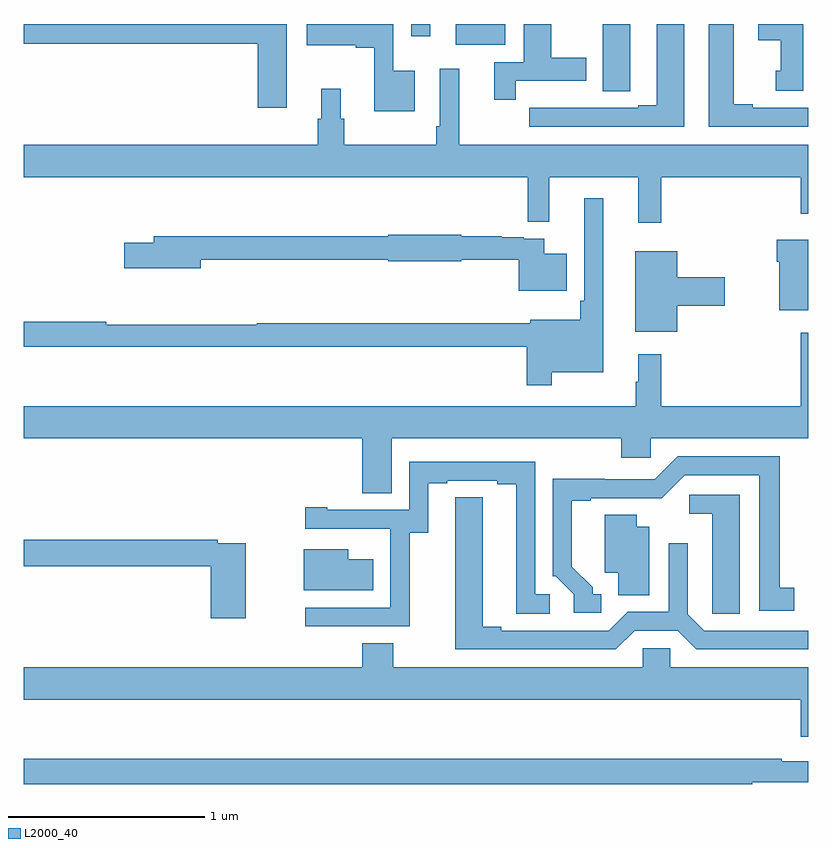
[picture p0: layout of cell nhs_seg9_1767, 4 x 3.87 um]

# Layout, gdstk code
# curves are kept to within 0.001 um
import gdstk
lib = gdstk.Library(unit=1e-6, precision=1e-09)
def R(c, l, rs):  # rectangles x0, y0, x1, y1
    for r in rs: c.add(gdstk.rectangle(r[:2], r[2:], *l))
def P(c, l, *ps):  # polygons
    for p in ps: c.add(gdstk.Polygon(p, *l))
L2000_40 = (2000, 40)

nhs_seg9_1767 = lib.new_cell('nhs_seg9_1767')
R(nhs_seg9_1767, L2000_40, [(211.202,1230.395,211.456,1230.5), (210.975,1230.438,211.072,1230.5)])
P(nhs_seg9_1767, L2000_40, [(210.994,1230.262),(210.885,1230.262),(210.885,1230.5),(210.444,1230.5),(210.444,1230.392),(210.692,1230.392),(210.692,1230.38),(210.788,1230.38),(210.788,1230.056),(210.994,1230.056)],
  [(211.508,1230.21),(211.867,1230.21),(211.867,1230.327),(211.69,1230.327),(211.69,1230.5),(211.55,1230.5),(211.55,1230.306),(211.4,1230.306),(211.4,1230.114),(211.508,1230.114)],
  [(212.368,1230.5),(212.228,1230.5),(212.228,1230.087),(212.132,1230.087),(212.132,1230.072),(211.856,1230.072),(211.856,1230.073),(211.69,1230.073),(211.69,1230.072),(211.578,1230.072),(211.578,1229.976),(212.368,1229.976)],
  [(212.974,1230.5),(212.744,1230.5),(212.744,1230.416),(212.858,1230.416),(212.858,1230.261),(212.834,1230.261),(212.834,1230.159),(212.974,1230.159)],
  [(213,1230.072),(212.716,1230.072),(212.716,1230.092),(212.62,1230.092),(212.62,1230.5),(212.492,1230.5),(212.492,1229.976),(213,1229.976)],
  [(212.091,1230.265),(212.092,1230.265),(212.092,1230.5),(211.952,1230.5),(211.952,1230.157),(212.091,1230.157)],
  [(210.34,1230.5),(209,1230.5),(209,1230.4),(210.194,1230.4),(210.194,1230.072),(210.34,1230.072)],
  [(212.249,1229.72),(212.96,1229.72),(212.96,1229.532),(213,1229.532),(213,1229.884),(211.22,1229.884),(211.22,1230.271),(211.122,1230.271),(211.122,1229.98),(211.102,1229.98),(211.102,1229.884),(210.635,1229.884),(210.635,1230.018),(210.616,1230.018),(210.616,1230.169),(210.518,1230.169),(210.518,1230.018),(210.499,1230.018),(210.499,1229.884),(209,1229.884),(209,1229.72),(211.57,1229.72),(211.57,1229.491),(211.679,1229.491),(211.679,1229.72),(212.132,1229.72),(212.132,1229.487),(212.249,1229.487)],
  [(211.693,1228.724),(211.954,1228.724),(211.954,1229.611),(211.857,1229.611),(211.857,1229.089),(211.837,1229.089),(211.837,1228.993),(211.583,1228.993),(211.583,1228.975),(210.187,1228.975),(210.187,1228.967),(209.422,1228.967),(209.422,1228.982),(209,1228.982),(209,1228.854),(211.564,1228.854),(211.564,1228.659),(211.693,1228.659)],
  [(211.768,1229.329),(211.654,1229.329),(211.654,1229.406),(211.55,1229.406),(211.55,1229.412),(211.436,1229.412),(211.436,1229.419),(211.23,1229.419),(211.23,1229.427),(210.858,1229.427),(210.858,1229.419),(209.663,1229.419),(209.663,1229.385),(209.514,1229.385),(209.514,1229.255),(209.902,1229.255),(209.902,1229.298),(210.858,1229.298),(210.858,1229.29),(211.23,1229.29),(211.23,1229.298),(211.525,1229.298),(211.525,1229.141),(211.768,1229.141)],
  [(213,1229.401),(212.84,1229.401),(212.84,1229.288),(212.852,1229.288),(212.852,1229.04),(213,1229.04)],
  [(212.332,1229.063),(212.575,1229.063),(212.575,1229.21),(212.332,1229.21),(212.332,1229.341),(212.117,1229.341),(212.117,1228.931),(212.332,1228.931)],
  [(210.877,1228.388),(212.045,1228.388),(212.045,1228.29),(212.196,1228.29),(212.196,1228.388),(213,1228.388),(213,1228.927),(212.96,1228.927),(212.96,1228.552),(212.249,1228.552),(212.249,1228.816),(212.132,1228.816),(212.132,1228.676),(212.121,1228.676),(212.121,1228.552),(209,1228.552),(209,1228.388),(210.725,1228.388),(210.725,1228.108),(210.877,1228.108)],
  [(211.945,1227.594),(211.9,1227.594),(211.9,1227.629),(211.795,1227.734),(211.795,1228.071),(211.891,1228.071),(211.891,1228.083),(212.252,1228.082),(212.37,1228.2),(212.75,1228.2),(212.75,1227.51),(212.929,1227.51),(212.929,1227.626),(212.854,1227.626),(212.854,1228.296),(212.334,1228.296),(212.217,1228.179),(211.961,1228.179),(211.961,1228.181),(211.698,1228.181),(211.698,1227.684),(211.713,1227.684),(211.803,1227.594),(211.803,1227.498),(211.945,1227.498)],
  [(210.969,1227.907),(211.063,1227.907),(211.063,1228.158),(211.159,1228.158),(211.159,1228.173),(211.415,1228.173),(211.415,1228.153),(211.511,1228.153),(211.511,1227.493),(211.681,1227.493),(211.681,1227.594),(211.608,1227.594),(211.608,1228.269),(210.966,1228.269),(210.966,1228.023),(210.547,1228.023),(210.547,1228.036),(210.435,1228.036),(210.435,1227.927),(210.869,1227.927),(210.869,1227.926),(210.87,1227.926),(210.87,1227.525),(210.435,1227.525),(210.435,1227.429),(210.969,1227.429)],
  [(212.65,1228.101),(212.394,1228.101),(212.394,1228.004),(212.51,1228.004),(212.51,1227.601),(212.511,1227.601),(212.511,1227.493),(212.65,1227.493)],
  [(212.115,1227.408),(212.333,1227.408),(212.429,1227.312),(213,1227.312),(213,1227.408),(212.469,1227.408),(212.385,1227.492),(212.385,1227.853),(212.289,1227.853),(212.289,1227.504),(212.079,1227.504),(211.983,1227.408),(211.435,1227.408),(211.435,1227.428),(211.339,1227.428),(211.339,1228.088),(211.2,1228.088),(211.199,1227.312),(212.019,1227.312)],
  [(212.188,1227.937),(212.125,1227.937),(212.125,1227.998),(211.961,1227.998),(211.961,1227.704),(212.03,1227.704),(212.03,1227.589),(212.188,1227.589)],
  [(210.132,1227.852),(209.99,1227.852),(209.99,1227.872),(209,1227.872),(209,1227.736),(209.954,1227.736),(209.954,1227.471),(210.132,1227.471)],
  [(210.781,1227.772),(210.655,1227.772),(210.655,1227.823),(210.428,1227.823),(210.428,1227.614),(210.781,1227.614)],
  [(213,1227.22),(212.295,1227.22),(212.295,1227.318),(212.157,1227.318),(212.157,1227.22),(210.885,1227.22),(210.885,1227.344),(210.725,1227.344),(210.725,1227.22),(209,1227.22),(209,1227.056),(212.96,1227.056),(212.96,1226.868),(213,1226.868)],
  [(212.714,1226.634),(213,1226.634),(213,1226.742),(212.864,1226.742),(212.864,1226.755),(209,1226.755),(209,1226.626),(212.714,1226.626)])

lib.write_gds('nhs_seg9_1767.gds')
